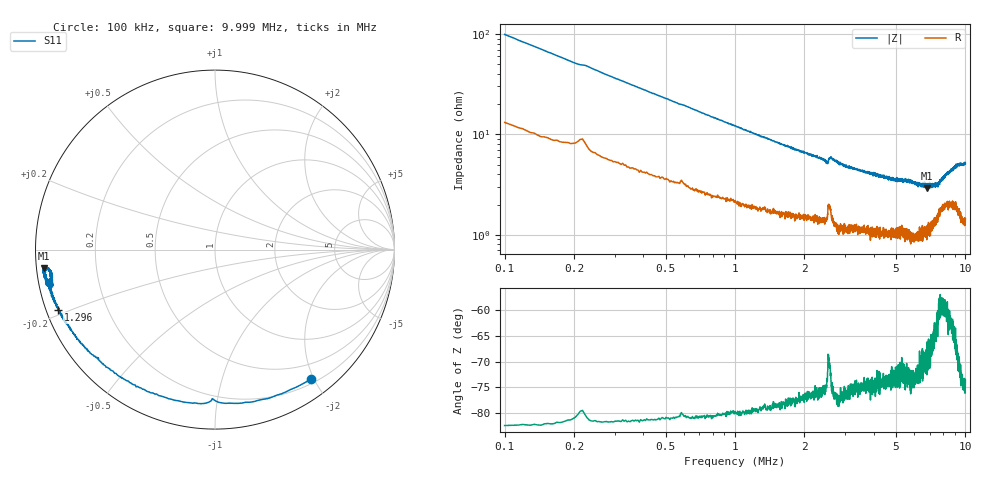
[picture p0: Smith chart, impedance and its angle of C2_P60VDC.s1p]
# HZ S RI R 50
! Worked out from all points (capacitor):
!   2020 points, 100 kHz to 9.999 MHz, reference 50 ohm
!   read as one part to ground: C = 15 nF near 149 kHz
!   lowest |Z| = 2.91 ohm at 6.802 MHz (marker M1)
!   S11 on the Smith chart (normalised r, x): 100 kHz: 0.26, -1.96; 1.296 MHz: 0.03, -0.19; 9.999 MHz: 0.03, -0.10
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100000  0.5357 -0.7208
129418  0.3712 -0.8032
158836  0.22 -0.846
188254  0.0807 -0.8555
232381  -0.0559 -0.8565
291217  -0.243 -0.8336
330441  -0.3355 -0.8049
379471  -0.4318 -0.7625
472628  -0.5588 -0.6898
526561  -0.6098 -0.6485
614815  -0.6749 -0.5942
786420  -0.7654 -0.4975
1056085  -0.8372 -0.4035
1296332  -0.8733 -0.3361
1340459  -0.869 -0.3319
1943528  -0.9114 -0.2424
2468149  -0.9267 -0.1943
2576015  -0.9059 -0.1996
2644657  -0.9242 -0.2083
2816262  -0.9362 -0.1875
3816474  -0.949 -0.152
5052030  -0.9464 -0.1274
6287586  -0.9527 -0.1147
6802401  -0.9523 -0.1035
7528045  -0.9392 -0.1094
8763601  -0.9129 -0.1495
9293125  -0.9182 -0.1722
9999157  -0.9267 -0.1831
